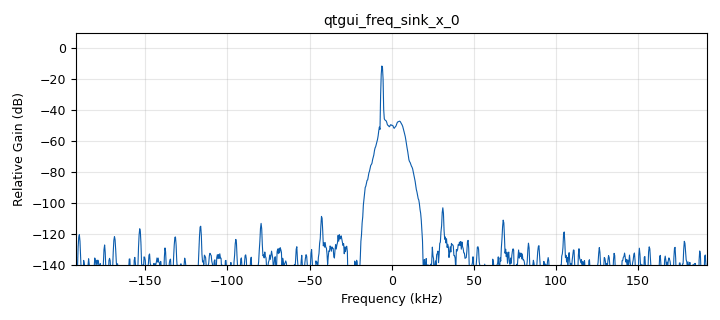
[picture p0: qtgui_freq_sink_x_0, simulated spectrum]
<?xml version='1.0' encoding='utf-8'?>
<?grc format='1' created='3.7.13'?>
<flow_graph>
<block>
<key>options</key>
<param><key>id</key><value>top_block</value></param>
<param><key>generate_options</key><value>qt_gui</value></param>
</block>
<block>
<key>variable</key>
<param><key>id</key><value>baud_rate</value></param>
<param><key>value</key><value>38400</value></param>
</block>
<block>
<key>variable</key>
<param><key>id</key><value>freq</value></param>
<param><key>value</key><value>465500000</value></param>
</block>
<block>
<key>variable_qtgui_range</key>
<param><key>id</key><value>rf_gain</value></param>
<param><key>value</key><value>50</value></param>
<param><key>label</key><value>RF Gain</value></param>
<param><key>orient</key><value>Qt.Horizontal</value></param>
<param><key>start</key><value>0</value></param>
<param><key>step</key><value>1</value></param>
<param><key>stop</key><value>76</value></param>
</block>
<block>
<key>variable</key>
<param><key>id</key><value>samp_rate</value></param>
<param><key>value</key><value>384000</value></param>
</block>
<block>
<key>variable</key>
<param><key>id</key><value>samp_rate_tx</value></param>
<param><key>value</key><value>4000000</value></param>
</block>
<block>
<key>variable</key>
<param><key>id</key><value>sps</value></param>
<param><key>value</key><value>10</value></param>
</block>
<block>
<key>variable_qtgui_range</key>
<param><key>id</key><value>tuning</value></param>
<param><key>value</key><value>50000000</value></param>
<param><key>label</key><value>Frequency</value></param>
<param><key>orient</key><value>Qt.Horizontal</value></param>
<param><key>start</key><value>40000000</value></param>
<param><key>step</key><value>20000</value></param>
<param><key>stop</key><value>60000000</value></param>
</block>
<block>
<key>analog_random_source_x</key>
<param><key>id</key><value>analog_random_source_x_0</value></param>
<param><key>max</key><value>2</value></param>
<param><key>min</key><value>0</value></param>
<param><key>num_samps</key><value>1000</value></param>
<param><key>type</key><value>byte</value></param>
<param><key>repeat</key><value>True</value></param>
</block>
<block>
<key>blocks_multiply_const_vxx</key>
<param><key>id</key><value>blocks_multiply_const_vxx_0</value></param>
<param><key>const</key><value>0.8</value></param>
<param><key>type</key><value>complex</value></param>
</block>
<block>
<key>digital_gfsk_mod</key>
<param><key>id</key><value>digital_gfsk_mod_0</value></param>
<param><key>bt</key><value>1</value></param>
<param><key>samples_per_symbol</key><value>sps</value></param>
<param><key>sensitivity</key><value>1.0</value></param>
</block>
<block>
<key>qtgui_freq_sink_x</key>
<param><key>id</key><value>qtgui_freq_sink_x_0</value></param>
<param><key>bw</key><value>samp_rate</value></param>
<param><key>fc</key><value>0</value></param>
<param><key>fftsize</key><value>1024</value></param>
<param><key>showports</key><value>True</value></param>
<param><key>type</key><value>complex</value></param>
<param><key>wintype</key><value>firdes.WIN_BLACKMAN_hARRIS</value></param>
</block>
<block>
<key>rational_resampler_xxx</key>
<param><key>id</key><value>rational_resampler_xxx_0</value></param>
<param><key>decim</key><value>samp_rate</value></param>
<param><key>interp</key><value>samp_rate_tx</value></param>
<param><key>taps</key><value></value></param>
<param><key>type</key><value>ccc</value></param>
</block>
<block>
<key>uhd_usrp_sink</key>
<param><key>id</key><value>uhd_usrp_sink_0</value></param>
<param><key>ant0</key><value>TX/RX</value></param>
<param><key>center_freq0</key><value>freq</value></param>
<param><key>norm_gain0</key><value>True</value></param>
<param><key>gain0</key><value>.5</value></param>
<param><key>clock_rate</key><value>0.0</value></param>
<param><key>dev_args</key><value>""</value></param>
<param><key>type</key><value>fc32</value></param>
<param><key>samp_rate</key><value>samp_rate_tx</value></param>
<param><key>hide_cmd_port</key><value>False</value></param>
<param><key>hide_lo_controls</key><value>True</value></param>
<param><key>sync</key><value></value></param>
<param><key>len_tag_name</key><value></value></param>
</block>
<connection><source_block_id>analog_random_source_x_0</source_block_id><sink_block_id>digital_gfsk_mod_0</sink_block_id><source_key>0</source_key><sink_key>0</sink_key></connection>
<connection><source_block_id>blocks_multiply_const_vxx_0</source_block_id><sink_block_id>qtgui_freq_sink_x_0</sink_block_id><source_key>0</source_key><sink_key>0</sink_key></connection>
<connection><source_block_id>blocks_multiply_const_vxx_0</source_block_id><sink_block_id>uhd_usrp_sink_0</sink_block_id><source_key>0</source_key><sink_key>0</sink_key></connection>
<connection><source_block_id>digital_gfsk_mod_0</source_block_id><sink_block_id>rational_resampler_xxx_0</sink_block_id><source_key>0</source_key><sink_key>0</sink_key></connection>
<connection><source_block_id>rational_resampler_xxx_0</source_block_id><sink_block_id>blocks_multiply_const_vxx_0</sink_block_id><source_key>0</source_key><sink_key>0</sink_key></connection>
</flow_graph>
